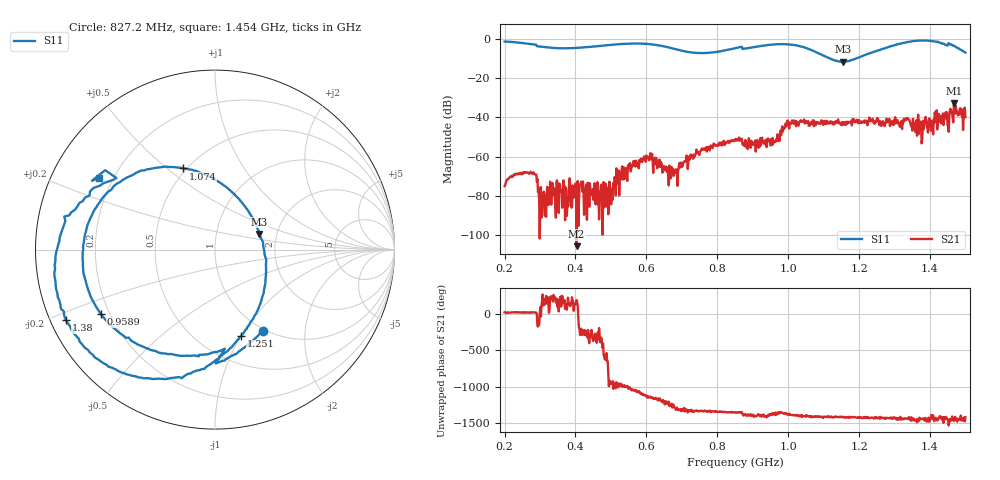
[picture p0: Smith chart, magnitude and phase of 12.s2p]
! NanoVNA-App
! Date: 2024-06-25 16:50:14
! Start: 200MHz Stop: 1.5GHz Points: 801
! S-Parameter data: F S11 S21 S12 S22
# Hz S RI R 50
!  Frequency  S11_Real  S11_Imag  S21_Real  S21_Imag  S12_Real  S12_Imag  S22_Real  S22_Imag
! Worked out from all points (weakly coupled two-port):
!   801 points, 200 MHz to 1.5 GHz, reference 50 ohm
!   highest |S21| = -32.75 dB at 1.468 GHz (marker M1); lowest = -105.7 dB at 403.1 MHz (marker M2)
!   lowest |S11| = -11.6 dB at 1.154 GHz (marker M3), VSWR 1.71, Z = 81.1 + j15.3 ohm
!   |S11| at or under -10 dB: 1.118 GHz to 1.191 GHz (72.56 MHz wide, 6.29 % of centre)
!   S12 and S22 are empty: the file has one direction only
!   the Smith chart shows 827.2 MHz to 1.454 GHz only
!   S11 on the Smith chart (normalised r, x): 827.2 MHz: 0.97, -1.22; 958.9 MHz: 0.17, -0.26; 1.074 GHz: 0.48, +0.57; 1.251 GHz: 0.77, -1.00; 1.38 GHz: 0.04, -0.22; 1.454 GHz: 0.15, +0.28
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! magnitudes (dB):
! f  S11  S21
! 200 MHz  -1.3  -75.0
! 274.8 MHz  -2.6  -68.2
! 310.5 MHz  -4.1  -77.9
! 403.1 MHz  -4.5  -105.7
! 417.8 MHz  -4.3  -72.9
! 494.1 MHz  -3.1  -80.7
! 565.6 MHz  -2.3  -63.7
! 633.9 MHz  -3.2  -64.2
! 682.6 MHz  -5.2  -66.6
! 827.2 MHz  -5.6  -52.8
! 850 MHz  -4.7  -51.7
! 958.9 MHz  -2.7  -52.4
! 999.5 MHz  -2.7  -43.0
! 1.068 GHz  -5.8  -43.3
! 1.074 GHz  -6.3  -42.0
! 1.154 GHz  -11.6  -43.9
! 1.251 GHz  -6.0  -40.3
! 1.284 GHz  -4.0  -41.7
! 1.38 GHz  -0.7  -41.8
! 1.454 GHz  -2.4  -39.7
! 1.468 GHz  -3.5  -32.7
! 1.5 GHz  -6.9  -39.9
